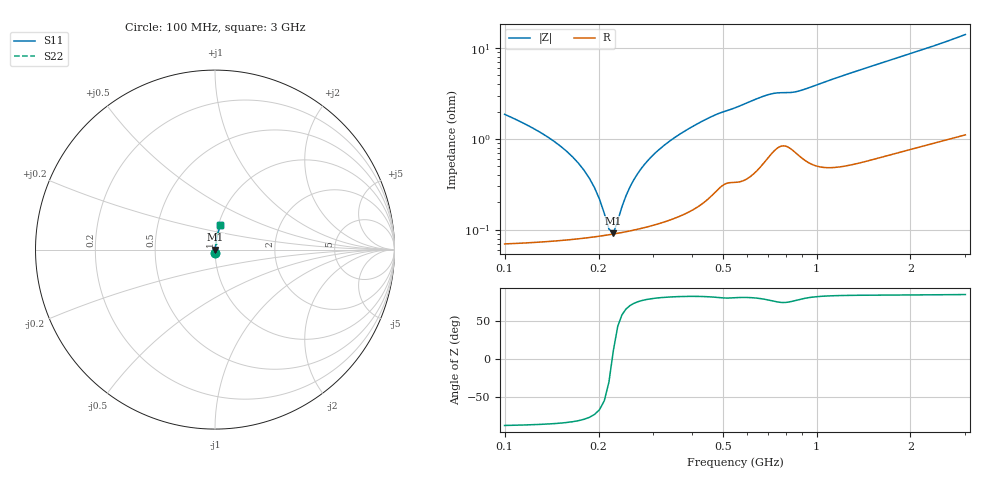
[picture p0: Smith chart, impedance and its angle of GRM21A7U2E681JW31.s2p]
!Murata Part Number: GRM21A7U2E681JW31
!These Parameters are Measured in Series Mode Connection
!Data Generated on Mar 30, 2021
!  o--ll--o
!Port1  Port2
!  o------o
!Operation Temp=25[degC], DC Bias Voltage=0[V]
!Freq. Start=100[MHz] Stop=3[GHz] 401[Steps]
# Hz S RI R 50
!Freq.(Hz) S11(Real) S11(Imag) S21(Real) S21(Imag) S12(Real) S12(Imag) S22(Real) S22(Imag)
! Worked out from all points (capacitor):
!   401 points, 100 MHz to 3 GHz, reference 50 ohm
!   read as one part in series: C = 679 pF near 114.5 MHz
!   lowest |Z| = 91.7 mohm at 223.2 MHz (marker M1)
!   series resonance near 221.3 MHz, so ESL is about 760 pH
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1e8  0.00104 -0.0186  0.999 0.0186  0.999 0.0186  0.00104 -0.0186
1.29e8  0.000874 -0.012  0.9991 0.012  0.9991 0.012  0.000874 -0.012
1.6525e8  0.000822 -0.00627  0.9992 0.00627  0.9992 0.00627  0.000822 -0.00627
1.87e8  0.000834 -0.00359  0.9992 0.00359  0.9992 0.00359  0.000834 -0.00359
2.0875e8  0.000866 -0.00124  0.9991 0.00124  0.9991 0.00124  0.000866 -0.00124
2.16e8  0.000881 -0.000514  0.9991 0.000514  0.9991 0.000514  0.000881 -0.000514
2.2325e8  0.000897 0.000186  0.9991 -0.000186  0.9991 -0.000186  0.000897 0.000186
2.305e8  0.000915 0.000865  0.9991 -0.000865  0.9991 -0.000865  0.000915 0.000865
2.5225e8  0.000978 0.00279  0.999 -0.00279  0.999 -0.00279  0.000978 0.00279
2.74e8  0.00105 0.00458  0.9989 -0.00458  0.9989 -0.00458  0.00105 0.00458
3.03e8  0.00118 0.00682  0.9988 -0.00682  0.9988 -0.00682  0.00118 0.00682
3.32e8  0.00133 0.00892  0.9987 -0.00892  0.9987 -0.00892  0.00133 0.00892
3.8275e8  0.00167 0.0124  0.9983 -0.0124  0.9983 -0.0124  0.00167 0.0124
4.4075e8  0.00232 0.0162  0.9977 -0.0162  0.9977 -0.0162  0.00232 0.0162
5.8575e8  0.00405 0.0237  0.9959 -0.0237  0.9959 -0.0237  0.00405 0.0237
7.09e8  0.00743 0.0299  0.9926 -0.0299  0.9926 -0.0299  0.00743 0.0299
8.6125e8  0.00791 0.0319  0.9921 -0.0319  0.9921 -0.0319  0.00791 0.0319
1.0715e9  0.00659 0.0421  0.9934 -0.0421  0.9934 -0.0421  0.00659 0.0421
1.55e9  0.0102 0.0641  0.9898 -0.0641  0.9898 -0.0641  0.0102 0.0641
2.03575e9  0.0153 0.0862  0.9847 -0.0862  0.9847 -0.0862  0.0153 0.0862
2.5215e9  0.0216 0.1096  0.9784 -0.1096  0.9784 -0.1096  0.0216 0.1096
3e9  0.0298 0.1351  0.9702 -0.1351  0.9702 -0.1351  0.0298 0.1351
